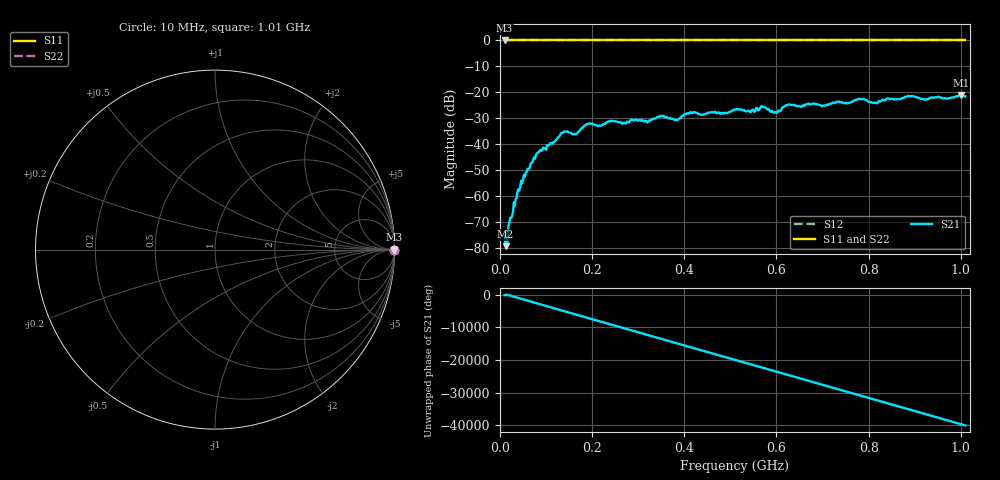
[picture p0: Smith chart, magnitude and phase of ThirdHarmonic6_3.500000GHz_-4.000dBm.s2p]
! 8/17/2025 11:25:40 AM
! C:\ANRITSUVNA\TEMP\TEMP.S2P
! CHANNEL.1
! TR.MEASUREMENT
! RAW.DATA
! RF.CORRECTION.OFF
! AVERAGING.OFF
! IF.BANDWIDTH: 5KHZ
! SWEEPTYPE:  FREQ.SWEEP(Linear)
! Reference Plane Port Info
! PORT:  PORT1  PORT2
! DISTANCE:  0  m  0  m
! TIME:  0  s  0  s
! PHASE.OFFSET:  0  deg.  0  deg.
! LOSS:  0  dB  0  dB
! REF.LOSS:  0  dB  0  dB
! REF.FREQ:  0  Hz  0  Hz
! Power Info
! POWER:  -20  dBm  -20  dBm
! EFF.POWER:  -20  dBm  -20  dBm
! SOURCE.ATTEN:  0  dB  0  dB
! TEST.ATTEN:  0  dB  0  dB
# GHZ S RI R 50.0
! FREQ.GHZ  S11RE  S11IM  S21RE  S21IM  S12RE  S12IM  S22RE  S22IM
!; PortSelection: Port_12
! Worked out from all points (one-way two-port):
!   501 points, 10 MHz to 1.01 GHz, reference 50 ohm
!   highest |S21| = -21.02 dB at 1 GHz (marker M1); lowest = -79.4 dB at 12 MHz (marker M2)
!   lowest |S11| = 0.0 dB at 10 MHz (marker M3)
!   |S11| at or under -10 dB: nowhere
!   |S22| runs from 0.0 to 0.0 dB; largest |S21 - S12| = 1.1
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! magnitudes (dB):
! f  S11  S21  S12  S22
! 10 MHz  0.0  -74.5  0.0  0.0
! 12 MHz  0.0  -79.4  0.0  0.0
! 16 MHz  0.0  -78.1  0.0  0.0
! 22 MHz  0.0  -68.5  0.0  0.0
! 42 MHz  0.0  -57.9  0.0  0.0
! 78 MHz  0.0  -44.3  0.0  0.0
! 136 MHz  0.0  -35.7  0.0  0.0
! 162 MHz  0.0  -36.0  0.0  0.0
! 178 MHz  0.0  -33.7  0.0  0.0
! 192 MHz  0.0  -32.2  0.0  0.0
! 318 MHz  0.0  -31.2  0.0  0.0
! 344 MHz  0.0  -29.5  0.0  0.0
! 382 MHz  0.0  -30.7  0.0  0.0
! 416 MHz  0.0  -27.9  0.0  0.0
! 510 MHz  0.0  -26.6  0.0  0.0
! 570 MHz  0.0  -25.6  0.0  0.0
! 598 MHz  0.0  -27.8  0.0  0.0
! 624 MHz  0.0  -24.9  0.0  0.0
! 678 MHz  0.0  -24.4  0.0  0.0
! 844 MHz  0.0  -22.4  0.0  0.0
! 1 GHz  0.0  -21.0  0.0  0.0
! 1.01 GHz  0.0  -21.6  0.0  0.0
